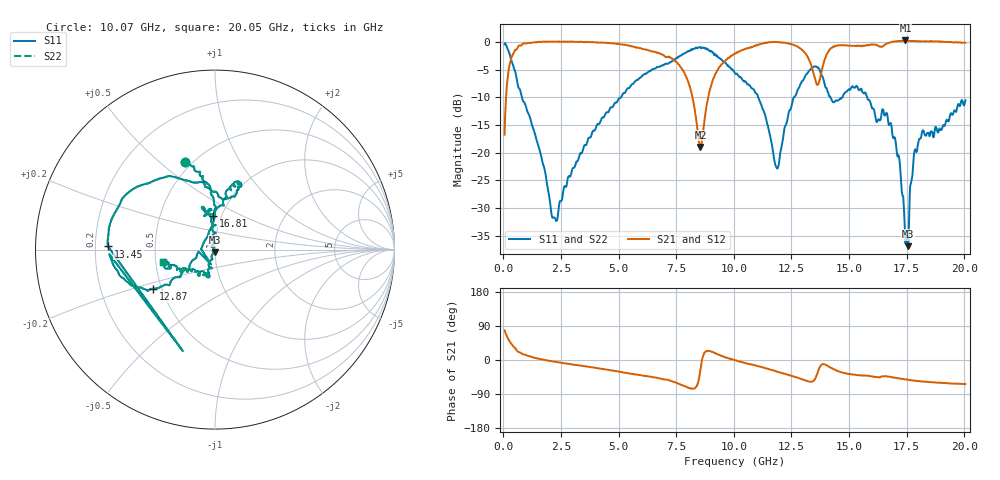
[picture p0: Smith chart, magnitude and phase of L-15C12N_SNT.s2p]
#	mhz	s	ma	r	50
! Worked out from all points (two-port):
!   1001 points, 50 MHz to 20.05 GHz, reference 50 ohm
!   highest |S21| = 0.27 dB at 17.45 GHz (marker M1); lowest = -18.9 dB at 8.55 GHz (marker M2)
!   |S21| within 3 dB of the highest: 354 MHz to 7.202 GHz (6.848 GHz wide, 181 % of centre); 13.99 GHz to end of sweep (the widest 2 of 3)
!   lowest |S11| = -36.9 dB at 17.57 GHz (marker M3), VSWR 1.03, Z = 49.8 - j1.41 ohm
!   |S11| at or under -10 dB: 804.9 MHz to 5.101 GHz (4.296 GHz wide, 145 % of centre); 11.05 GHz to 12.6 GHz (1.551 GHz wide, 13.1 % of centre); 15.79 GHz to end of sweep (the widest 3 of 4)
!   |S22| runs from -36.9 to -0.2 dB; largest |S21 - S12| = 0
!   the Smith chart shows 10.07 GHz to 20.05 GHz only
!   S11 on the Smith chart (normalised r, x): 10.07 GHz: 0.46, +0.61; 12.87 GHz: 0.45, -0.24; 13.45 GHz: 0.25, +0.01; 16.81 GHz: 0.92, +0.35; 20.05 GHz: 0.55, -0.09
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50  0.9537 171.6  0.1457 78.4  0.1457 78.4  0.9537 171.6
290  0.7436 140.7  0.6538 47.0  0.6538 47.0  0.7436 140.7
750  0.3501 116.4  0.9275 18.8  0.9275 18.8  0.3501 116.4
2190  0.02608 173.6  1.006 -4.3  1.006 -4.3  0.02608 173.6
3390  0.09863 -116.0  1.001 -15.2  1.001 -15.2  0.09863 -116.0
6730  0.5942 -136.9  0.7914 -48.0  0.7914 -48.0  0.5942 -136.9
7890  0.7949 -163.6  0.506 -69.8  0.506 -69.8  0.7949 -163.6
8550  0.8985 161.4  0.1131 -25.0  0.1131 -25.0  0.8985 161.4
10050  0.5247 110.2  0.7903 -0.6  0.7903 -0.6  0.5247 110.2
10070  0.5182 109.0  0.7894 -1.1  0.7894 -1.1  0.5182 109.0
11870  0.07245 157.7  0.9957 -30.7  0.9957 -30.7  0.07245 157.7
12870  0.4071 -147.6  0.8765 -49.0  0.8765 -49.0  0.4071 -147.6
13390  0.5836 -175.6  0.5877 -57.2  0.5877 -57.2  0.5836 -175.6
13450  0.5959 178.3  0.5278 -55.5  0.5278 -55.5  0.5959 178.3
13850  0.4842 122.2  0.5937 -11.1  0.5937 -11.1  0.4842 122.2
14430  0.2972 76.9  0.9243 -27.4  0.9243 -27.4  0.2972 76.9
16730  0.1779 94.7  0.9816 -44.1  0.9816 -44.1  0.1779 94.7
16810  0.1854 93.1  0.9933 -44.8  0.9933 -44.8  0.1854 93.1
17450  0.01523 -149.3  1.032 -51.2  1.032 -51.2  0.01523 -149.3
17570  0.01436 -98.3  1.02 -52.3  1.02 -52.3  0.01436 -98.3
18130  0.1387 -108.5  1.012 -56.4  1.012 -56.4  0.1387 -108.5
20050  0.298 -166.1  0.9823 -63.5  0.9823 -63.5  0.298 -166.1
